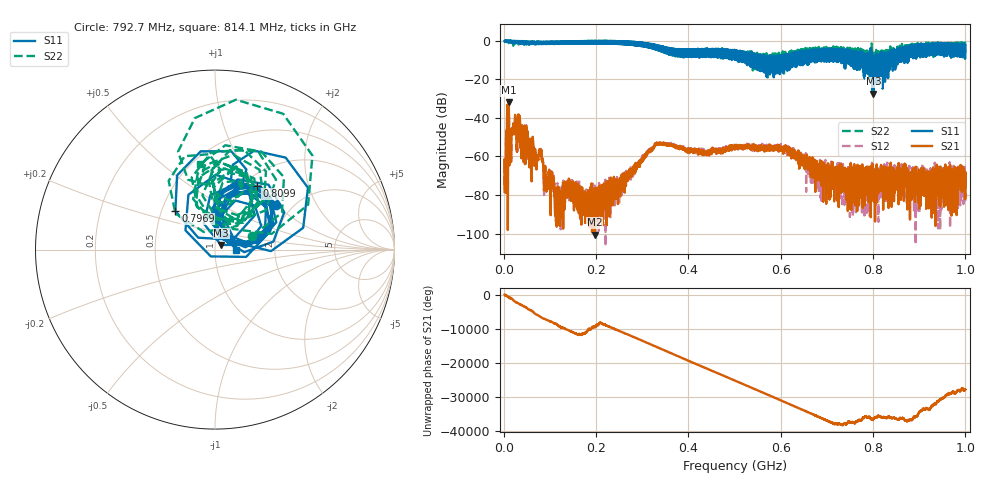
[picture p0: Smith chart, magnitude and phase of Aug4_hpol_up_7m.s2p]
!Keysight Technologies N9923A: A.12.45
!Date: Tuesday, 05 August 2025 19:49:08
!Timezone: (UTC+08:00) Kuala Lumpur, Singapore
!Model: N9923A
!Serial: MY61181427
!GPS Latitude:
!GPS Longitude:
!GPS TimeStamp: 0001-01-01 00:00:00Z
!GPS Seconds Since Last Read: 0
!CHECKSUM:1566776231
!Correction: S11(ON U)S21(ON U)S12(ON U)S22(ON U)
!S2P File: Measurements:S11,S21,S12,S22:
# Hz S DB R 50
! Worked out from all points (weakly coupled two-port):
!   4001 points, 2 MHz to 1 GHz, reference 50 ohm
!   highest |S21| = -31.85 dB at 10.73 MHz (marker M1); lowest = -100.5 dB at 197.6 MHz (marker M2)
!   lowest |S11| = -27.4 dB at 800.6 MHz (marker M3), VSWR 1.09, Z = 53.4 + j2.75 ohm
!   |S11| at or under -10 dB: 552.3411 MHz to 553.183 MHz (841.8 kHz wide, 0.152 % of centre); 800.1102 MHz to 801.3146 MHz (1.204 MHz wide, 0.15 % of centre); 801.4987 MHz to 802.7096 MHz (1.211 MHz wide, 0.151 % of centre)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
!   |S22| runs from -19.9 to 0.1 dB; largest |S21 - S12| = 0.0011
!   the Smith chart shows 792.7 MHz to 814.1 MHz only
!   S11 on the Smith chart (normalised r, x): 792.7 MHz: 1.66, +1.00; 796.9 MHz: 0.59, +0.28; 809.9 MHz: 1.15, +0.99; 814.1 MHz: 1.27, +0.00
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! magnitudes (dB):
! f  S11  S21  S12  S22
! 2 MHz  -0.1  -78.4  -74.8  -0.1
! 10.73 MHz  -0.8  -31.8  -31.8  -1.2
! 36.18 MHz  -1.1  -52.5  -52.7  -0.8
! 43.17 MHz  -0.6  -62.6  -61.2  -1.4
! 80.34 MHz  -0.6  -57.6  -57.4  -0.6
! 91.07 MHz  -1.7  -70.0  -71.1  -1.5
! 115.8 MHz  -0.6  -78.9  -84.2  -0.5
! 168.4 MHz  -1.4  -78.1  -82.0  -1.3
! 197.6 MHz  -0.4  -100.5  -91.7  -0.7
! 250.5 MHz  -1.4  -73.3  -72.7  -0.8
! 334.8 MHz  -4.1  -54.0  -53.2  -5.0
! 501 MHz  -6.7  -55.5  -55.6  -8.8
! 614 MHz  -8.2  -57.6  -59.4  -11.6
! 667.4 MHz  -10.4  -67.2  -61.0  -6.1
! 792.7 MHz  -7.5  -69.1  -90.9  -13.1
! 796.9 MHz  -10.2  -69.5  -64.2  -1.5
! 800.6 MHz  -27.4  -78.0  -70.5  -8.4
! 809.9 MHz  -7.5  -78.6  -76.4  -8.1
! 814.1 MHz  -18.5  -77.5  -74.4  -6.3
! 833.8 MHz  -7.6  -68.7  -72.5  -5.2
! 990.5 MHz  -4.8  -71.8  -80.6  -3.1
! 1 GHz  -2.5  -81.7  -83.1  -6.1
